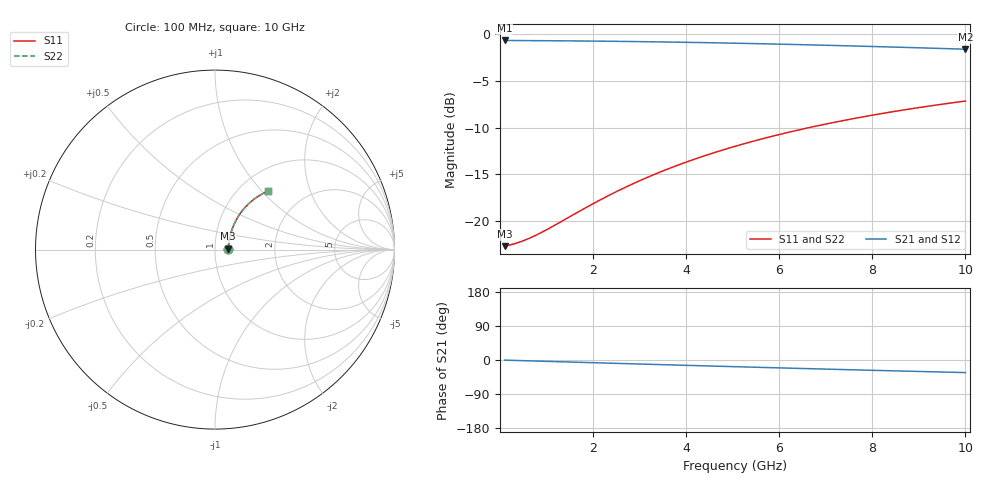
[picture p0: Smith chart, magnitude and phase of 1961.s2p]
# Hz S RI R 50.00
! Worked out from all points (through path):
!   100 points, 100 MHz to 10 GHz, reference 50 ohm
!   highest |S21| = -0.66 dB at 100 MHz (marker M1); lowest = -1.6 dB at 10 GHz (marker M2)
!   group delay of S21, straight-line fit = 9.26 ps
!   lowest |S11| = -22.7 dB at 100 MHz (marker M3), VSWR 1.16, Z = 57.9 + j0.523 ohm
!   |S11| at or under -10 dB: start of sweep to 6.629 GHz
!   |S22| runs from -22.7 to -7.1 dB; largest |S21 - S12| = 0
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1e8  0.0734 0.00449  0.9266 -0.00577  0.9266 -0.00577  0.0734 0.00449
3e8  0.0744 0.0134  0.9256 -0.0173  0.9256 -0.0173  0.0744 0.0134
4e8  0.0749 0.0179  0.9251 -0.023  0.9251 -0.023  0.0749 0.0179
5e8  0.0754 0.0224  0.9246 -0.0288  0.9246 -0.0288  0.0754 0.0224
7e8  0.0764 0.0313  0.9236 -0.0402  0.9236 -0.0402  0.0764 0.0313
9e8  0.0776 0.0401  0.9223 -0.0517  0.9223 -0.0517  0.0776 0.0401
1.1e9  0.079 0.0489  0.9209 -0.0631  0.9209 -0.0631  0.079 0.0489
1.8e9  0.0852 0.0794  0.9145 -0.1025  0.9145 -0.1025  0.0852 0.0794
2.2e9  0.0899 0.0964  0.9097 -0.1247  0.9097 -0.1247  0.0899 0.0964
2.6e9  0.0953 0.1132  0.9041 -0.1466  0.9041 -0.1466  0.0953 0.1132
3e9  0.1015 0.1295  0.8977 -0.1681  0.8977 -0.1681  0.1015 0.1295
3.4e9  0.1085 0.1455  0.8905 -0.1892  0.8905 -0.1892  0.1085 0.1455
3.8e9  0.1161 0.161  0.8826 -0.2099  0.8826 -0.2099  0.1161 0.161
4.2e9  0.1244 0.176  0.8741 -0.2301  0.8741 -0.2301  0.1244 0.176
4.6e9  0.1333 0.1905  0.8648 -0.2497  0.8648 -0.2497  0.1333 0.1905
5.1e9  0.1453 0.2079  0.8524 -0.2736  0.8524 -0.2736  0.1453 0.2079
5.9e9  0.1663 0.2337  0.8307 -0.3098  0.8307 -0.3098  0.1663 0.2337
6.7e9  0.1891 0.257  0.807 -0.3435  0.807 -0.3435  0.1891 0.257
7.5e9  0.2133 0.2778  0.7817 -0.3747  0.7817 -0.3747  0.2133 0.2778
8.4e9  0.242 0.2979  0.7518 -0.4067  0.7518 -0.4067  0.242 0.2979
9.2e9  0.2682 0.313  0.7243 -0.4323  0.7243 -0.4323  0.2682 0.313
1e10  0.295 0.3256  0.6961 -0.4555  0.6961 -0.4555  0.295 0.3256
